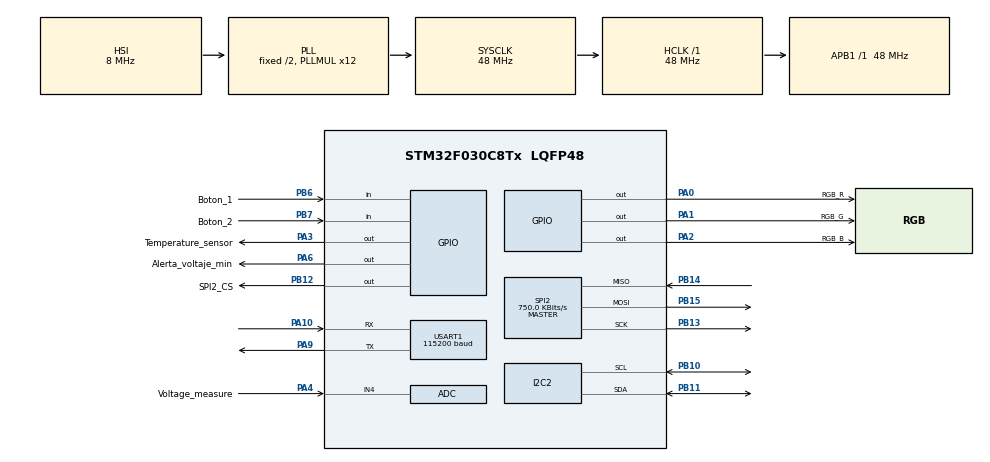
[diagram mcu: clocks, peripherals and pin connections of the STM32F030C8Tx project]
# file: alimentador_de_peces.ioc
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I2C2.Timing=0x10805D88
Mcu.Family=STM32F0
Mcu.Name=STM32F030C8Tx
Mcu.Package=LQFP48
NVIC.TIM14_IRQn=true\:0\:0\:false\:false\:true\:true\:true\:true
NVIC.USART1_IRQn=true\:0\:0\:false\:false\:true\:true\:true\:true
PA0.GPIO_Label=RGB_R
PA0.Signal=GPIO_Output
PA1.GPIO_Label=RGB_G
PA1.Signal=GPIO_Output
PA10.Mode=Asynchronous
PA10.Signal=USART1_RX
PA13.Mode=Serial_Wire
PA13.Signal=SYS_SWDIO
PA14.Mode=Serial_Wire
PA14.Signal=SYS_SWCLK
PA2.GPIO_Label=RGB_B
PA2.Signal=GPIO_Output
PA3.GPIO_Label=Temperature_sensor
PA3.Signal=GPIO_Output
PA4.GPIO_Label=Voltage_measure
PA4.Signal=SharedAnalog_PA4
PA6.GPIO_Label=Alerta_voltaje_min
PA6.Signal=GPIO_Output
PA9.Mode=Asynchronous
PA9.Signal=USART1_TX
PB10.Mode=I2C
PB10.Signal=I2C2_SCL
PB11.Mode=I2C
PB11.Signal=I2C2_SDA
PB12.GPIO_Label=SPI2_CS
PB12.Signal=GPIO_Output
PB13.Mode=Full_Duplex_Master
PB13.Signal=SPI2_SCK
PB14.Mode=Full_Duplex_Master
PB14.Signal=SPI2_MISO
PB15.Mode=Full_Duplex_Master
PB15.Signal=SPI2_MOSI
PB5.GPIO_Label=Motor_control
PB5.Signal=S_TIM3_CH2
PB6.GPIO_Label=Boton_1
PB6.Signal=GPIO_Input
PB7.GPIO_Label=Boton_2
PB7.Signal=GPIO_Input
PC14-OSC32_IN.Mode=LSE-External-Oscillator
PC14-OSC32_IN.Signal=RCC_OSC32_IN
PC15-OSC32_OUT.Mode=LSE-External-Oscillator
PC15-OSC32_OUT.Signal=RCC_OSC32_OUT
PF0-OSC_IN.Mode=HSE-External-Oscillator
PF0-OSC_IN.Signal=RCC_OSC_IN
PF1-OSC_OUT.Mode=HSE-External-Oscillator
PF1-OSC_OUT.Signal=RCC_OSC_OUT
ProjectManager.HeapSize=0x200
ProjectManager.StackSize=0x400
ProjectManager.TargetToolchain=STM32CubeIDE
RCC.AHBFreq_Value=48000000
RCC.APB1Freq_Value=48000000
RCC.APB1TimFreq_Value=48000000
RCC.HCLKFreq_Value=48000000
RCC.PLLMUL=RCC_PLL_MUL12
RCC.SYSCLKFreq_VALUE=48000000
RCC.SYSCLKSource=RCC_SYSCLKSOURCE_PLLCLK
SH.S_TIM3_CH2.0=TIM3_CH2
SH.SharedAnalog_PA4.0=GPIO_Analog
SH.SharedAnalog_PA4.1=ADC_IN4,IN4
SPI2.BaudRatePrescaler=SPI_BAUDRATEPRESCALER_64
SPI2.CalculateBaudRate=750.0 KBits/s
SPI2.DataSize=SPI_DATASIZE_8BIT
SPI2.Direction=SPI_DIRECTION_2LINES
SPI2.Mode=SPI_MODE_MASTER
SPI2.VirtualType=VM_MASTER
TIM1.Period=0xffff-1
TIM1.Prescaler=47
TIM14.Period=2499
TIM14.Prescaler=47999
USART1.BaudRate=115200
USART1.VirtualMode-Asynchronous=VM_ASYNC
VP_TIM14_VS_ClockSourceINT.Mode=Enable_Timer
VP_TIM1_VS_ClockSourceINT.Mode=Internal
board=custom

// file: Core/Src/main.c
/* USER CODE BEGIN Header */
/**
  ******************************************************************************
  * @file           : main.c
  * @brief          : Main program body
  ******************************************************************************
  * @attention
  *
  * Copyright (c) 2025 STMicroelectronics.
  * All rights reserved.
  *
  * This software is licensed under terms that can be found in the LICENSE file
  * in the root directory of this software component.
  * If no LICENSE file comes with this software, it is provided AS-IS.
  *
  ******************************************************************************
  */
/* USER CODE END Header */
#include "main.h"

/* USER CODE BEGIN Includes */
#include "Flash.h"
#include "string.h"
#include "stdio.h"
#include "stdlib.h"
#include "ds1307.h"
#include "ds18b20.h"
#include "stdbool.h"
#include "stdio.h"
#include "stdarg.h"

//#include "command_handler.h"

/* USER CODE END Includes */

ADC_HandleTypeDef hadc;

I2C_HandleTypeDef hi2c2;

SPI_HandleTypeDef hspi2;

TIM_HandleTypeDef htim1;
TIM_HandleTypeDef htim14;

UART_HandleTypeDef huart1;

/* USER CODE BEGIN PV */

#define BUFFER_SIZE 50

char buffer[16];
char transmit_text[ 64 ];
extern uint8_t read_flash_Byte[ 255 ];
volatile uint8_t address_to_write[3] ;
uint8_t things_to_write[255];
uint8_t size_to_send;

char uart_buffer[BUFFER_SIZE];  // Buffer para recepción UART
uint8_t uart_index = 0;         // Índice del buffer
uint8_t received_char;   // Variable temporal para recibir caracteres

char read_buffer[4];

int min_red = 0, max_red = 100;
int min_green = 0, max_green = 100;
int min_blue = 0, max_blue = 100;
int time_RTC = 0;
float temperature = 0;
float temperatura_promedio;
char value_to_write[4];

uint16_t counter_2_5min;
uint8_t counter_1min;
uint16_t counter10s;
uint16_t counter2_5s;
uint8_t counteraux;

int sec = 0, min = 0, hour = 0, dow = 0, dom = 0, month = 0, year = 0;

typedef struct {
    int min_red;
    int max_red;
    int min_green;
    int max_green;
    int min_blue;
    int max_blue;
} FlashParams;

FlashParams config; // Variable global para almacenar los valores

/* USER CODE BEGIN PV */

/* USER CODE END PV */

void SystemClock_Config(void);
static void MX_GPIO_Init(void);
static void MX_ADC_Init(void);
static void MX_I2C2_Init(void);
static void MX_SPI2_Init(void);
static void MX_USART1_UART_Init(void);
static void MX_TIM1_Init(void);
static void MX_TIM14_Init(void);

/* USER CODE BEGIN 0 */
void process_command(char *command);

void HAL_TIM_PeriodElapsedCallback(TIM_HandleTypeDef *htim) {
    // Verifica qué Timer generó la interrupción
    if (htim->Instance == TIM14) {  // TIMx es el número del Timer que estás usando
    	//Temperature_To_Uart();
    	counter2_5s++;
    	counteraux++;

    if ( counter2_5s % 4 == 0 ){
    	counter10s++;

    	}
    if (counter2_5s % 60 == 0) {
		counter_2_5min++;
	}
    if (counter2_5s % 24 ==0){
    	counter_1min++;

    }
   }
}

void HAL_UART_RxCpltCallback(UART_HandleTypeDef *huart) {
    if (huart->Instance == USART1) {
    	if (received_char == '\n') {
			uart_buffer[uart_index] = '\0';
			process_command(uart_buffer);
			memset(uart_buffer, 0, BUFFER_SIZE); // Limpiar buffer
			uart_index = 0;
        } else if (received_char != '\r') { // Ignorar '\r'
            if (uart_index < BUFFER_SIZE - 1) {
                uart_buffer[uart_index++] = received_char;
            }
        }
        HAL_UART_Receive_IT(&huart1, &received_char, 1); // Reactivar recepción
    }
}

void process_command(char *command) {
    char param[15];
    int value;
    char debug_msg[50];
    char time_str[15];
    int sec, min, hour, dow, dom, month, year;

    // Limpiar el comando (eliminar \r, \n y espacios)
    char *clean_cmd = strtok(command, "\r\n ");
    if (clean_cmd == NULL) {
        HAL_UART_Transmit(&huart1, (uint8_t *)"ERROR: Comando vacio\n", strlen("ERROR: Comando vacio\r\n"), 100);
        return;
    }

    if (sscanf(clean_cmd, "%9[^$]$%d", param, &value) == 2) {
        // Confirmar recepción del comando
        snprintf(debug_msg, sizeof(debug_msg), "CMD: %s=%d\r\n", param, value);
        HAL_UART_Transmit(&huart1, (uint8_t *)debug_msg, strlen(debug_msg), 100);

        if (strcmp(param, "MIN_RED") == 0) {
            min_red = value;
            HAL_UART_Transmit(&huart1, (uint8_t *)"OK_MIN_RED\r\n", strlen("OK_MIN_RED\r\n"), 100);
            snprintf(debug_msg, sizeof(debug_msg), "SET MIN RED: %d\r\n", min_red);
            HAL_UART_Transmit(&huart1, (uint8_t *)debug_msg, strlen(debug_msg), 100); // Usar strlen

            config.min_red = value; // Actualizar estructura
            Flash_write_page(0x00, 0x00, 0x00, (uint8_t*)&config, sizeof(config)); // Guardar en Fla

        }else if (strcmp(param, "MAX_RED") == 0) {
            max_red = value;
            HAL_UART_Transmit(&huart1, (uint8_t *)"OK_MAX_RED\r\n", strlen("OK_MAX_RED\r\n"), 100);
            snprintf(debug_msg, sizeof(debug_msg), "SET MAX RED: %d\r\n", max_red);
            HAL_UART_Transmit(&huart1, (uint8_t *)debug_msg, strlen(debug_msg), 100); // Usar strlen

            config.max_red = value;
            Flash_write_page(0x00, 0x00, 0x00, (uint8_t*)&config, sizeof(config));

        }else if (strcmp(param, "MIN_GREEN") == 0) {
            min_green = value;
            HAL_UART_Transmit(&huart1, (uint8_t *)"OK_MAX_GREEN\r\n", strlen("OK_MAX_GREEN\r\n"), 100);
            snprintf(debug_msg, sizeof(debug_msg), "SET MIN GREEN: %d\r\n", min_green);
            HAL_UART_Transmit(&huart1, (uint8_t *)debug_msg, strlen(debug_msg), 100); // Usar strlen

            config.min_green = value;
            Flash_write_page(0x00, 0x00, 0x00, (uint8_t*)&config, sizeof(config));

        }else if (strcmp(param, "MAX_GREEN") == 0) {
            max_green = value;
            HAL_UART_Transmit(&huart1, (uint8_t *)"OK_MAX_GREEN\r\n", strlen("OK_MAX_GREEN\r\n"), 100);
            snprintf(debug_msg, sizeof(debug_msg), "SET MAX GREEN: %d\r\n", max_green);
            HAL_UART_Transmit(&huart1, (uint8_t *)debug_msg, strlen(debug_msg), 100); // Usar strlen

            config.max_green = value;
            Flash_write_page(0x00, 0x00, 0x00, (uint8_t*)&config, sizeof(config));

        }else if (strcmp(param, "MIN_BLUE") == 0) {
            min_blue = value;
            HAL_UART_Transmit(&huart1, (uint8_t *)"OK_MAX_BLUE\r\n", strlen("OK_MAX_BLUE\r\n"), 100);
            snprintf(debug_msg, sizeof(debug_msg), "SET MIN BLUE: %d\r\n", min_blue);
            HAL_UART_Transmit(&huart1, (uint8_t *)debug_msg, strlen(debug_msg), 100); // Usar strlen

            config.min_blue = value;
            Flash_write_page(0x00, 0x00, 0x00, (uint8_t*)&config, sizeof(config));

        }else if (strcmp(param, "MAX_BLUE") == 0) {
            max_blue = value;
            HAL_UART_Transmit(&huart1, (uint8_t *)"OK_MAX_BLUE\r\n", strlen("OK_MAX_BLUE\r\n"), 100);
            snprintf(debug_msg, sizeof(debug_msg), "SET MAX BLUE: %d\r\n", max_blue);
            HAL_UART_Transmit(&huart1, (uint8_t *)debug_msg, strlen(debug_msg), 100); // Usar strlen

            config.max_blue = value;
            Flash_write_page(0x00, 0x00, 0x00, (uint8_t*)&config, sizeof(config));

        }
    }if (sscanf(command, "%9[^$]$%14s", param, time_str) == 2) {
        if (strcmp(param, "SET_TIME") == 0) {
            // Extraer cada campo de 2 dígitos
            if (sscanf(time_str, "%2d%2d%2d%2d%2d%2d%2d",
                &sec, &min, &hour, &dow, &dom, &month, &year) == 7) {

                // Validar rangos (ejemplo básico)
                if (sec < 0 || sec > 59 || min < 0 || min > 59 ||
                    hour < 0 || hour > 23 || dow < 1 || dow > 7 ||
                    dom < 1 || dom > 31 || month < 1 || month > 12) {
                    HAL_UART_Transmit(&huart1, (uint8_t *)"ERROR: Valores fuera de rango\r\n", 30, 100);
                    return;
                }

                // Configurar el RTC
                Set_Time(sec, min, hour, dow, dom, month, year);
                HAL_UART_Transmit(&huart1, (uint8_t *)"Hora configurada\r\n", 18, 100);
            } else {
                HAL_UART_Transmit(&huart1, (uint8_t *)"ERROR: Formato inválido\r\n", 25, 100);
            }
        }
    }else {
        HAL_UART_Transmit(&huart1, (uint8_t *)"ERROR: Formato invalido\n", strlen("ERROR: Formato invalido\n"), 100);
    }
}

void check_temperature(float temperature) {
    // Apagar todos los LEDs primero
    HAL_GPIO_WritePin(RGB_R_GPIO_Port, RGB_R_Pin, GPIO_PIN_RESET);
    HAL_GPIO_WritePin(RGB_G_GPIO_Port, RGB_G_Pin, GPIO_PIN_RESET);
    HAL_GPIO_WritePin(RGB_B_GPIO_Port, RGB_B_Pin, GPIO_PIN_RESET);

    // Encender LEDs según los rangos configurados
    if (temperature >= min_red && temperature <= max_red) {
        HAL_GPIO_WritePin(RGB_R_GPIO_Port, RGB_R_Pin, GPIO_PIN_SET); // Encender rojo
    }
    if (temperature >= min_green && temperature <= max_green) {
        HAL_GPIO_WritePin(RGB_G_GPIO_Port, RGB_G_Pin, GPIO_PIN_SET); // Encender verde
    }
    if (temperature >= min_blue && temperature <= max_blue) {
        HAL_GPIO_WritePin(RGB_B_GPIO_Port, RGB_B_Pin, GPIO_PIN_SET); // Encender azul
    }
}

void Print_Temperature_To_Uart(void){
	temperature = DS18B20_ReadTemperature();
	check_temperature(temperature);
	size_to_send = sprintf( transmit_text, "result temperature %.2f\r\n", temperature);
	transmit_text[size_to_send] = '\0';
	HAL_UART_Transmit(&huart1, (uint8_t *)transmit_text, size_to_send, 1000);
}

/* USER CODE END 0 */

int main(void)
{

  /* MCU Configuration--------------------------------------------------------*/

  /* Reset of all peripherals, Initializes the Flash interface and the Systick. */
  HAL_Init();

  /* Configure the system clock */
  SystemClock_Config();

  /* Initialize all configured peripherals */
  MX_GPIO_Init();
  MX_ADC_Init();
  MX_I2C2_Init();
  MX_SPI2_Init();
  MX_USART1_UART_Init();
  MX_TIM1_Init();
  MX_TIM14_Init();
  /* USER CODE BEGIN 2 */
  HAL_TIM_Base_Start(&htim1);
  HAL_TIM_Base_Start_IT(&htim14);

  /* USER CODE END 2 */

  /* Infinite loop */
  /* USER CODE BEGIN WHILE */
  Flash_read_identification_id();

  /*Esta funcion configura el reloj, solo es necesario correrla una sola vez
  (sec, min, hour, dow, dom, month, year)*/
  //Set_Time(00, 00, 01, 4, 6, 3, 25);

   HAL_UART_Receive_IT(&huart1, &received_char, 1); // Iniciar recepción UART

   Flash_page_erase(0x00, 0x00, 0x00);
   // Leer configuración desde Flash
	 Flash_read_page(0x00, 0x00, 0x00, sizeof(config)); // Dirección 0x000000
	 memcpy(&config, read_flash_Byte, sizeof(config));

	 if(config.min_red == 0xFFFFFFFF){ // Asume que 0xFFFFFFFF es el valor por defecto
	     config.min_red = 30; // Valor por defecto
	     config.max_red = 40;
	     config.min_green = 25;
	     config.max_green = 30;
	     config.min_blue = 20;
	     config.max_blue = 25;
	     Flash_write_page(0x00, 0x00, 0x00, (uint8_t*)&config, sizeof(config));
	 }

	 // Asignar valores a las variables globales
	 min_red = config.min_red;
	 max_red = config.max_red;
	 min_green = config.min_green;
	 max_green = config.max_green;
	 min_blue = config.min_blue;
	 max_blue = config.max_blue;

	 temperatura_promedio =0;
	 Print_Temperature_To_Uart();

  while (1)
  {
    /* USER CODE END WHILE */

    /* USER CODE BEGIN 3 */

	Get_Time();
	sprintf(buffer, "%02d:%02d:%02d\r\n", time.hour, time.minutes, time.seconds);
	HAL_UART_Transmit(&huart1,(uint8_t *)buffer, strlen(buffer), 100);
	HAL_Delay(1000);

	if (counter10s >=1) {
		Print_Temperature_To_Uart();
		counter10s = 0;
		temperatura_promedio = temperatura_promedio + temperature;

	 }
	if (counter_1min >= 1) {

		  temperatura_promedio = temperatura_promedio/6.0;
		  size_to_send = sprintf( transmit_text, "temperatura promedio guardada en flash: %.1f\r\n", temperatura_promedio);
		  HAL_UART_Transmit(&huart1, (uint8_t *)transmit_text, size_to_send, 1000);
		  sprintf(value_to_write, "%.1f", temperatura_promedio);
		  Flash_page_erase(0x00, 0x03, 0x00);
		  Flash_write_page(0x00,0x03,0x00,(uint8_t *)value_to_write,strlen(value_to_write));

		  counter_1min = 0;
		  temperatura_promedio = 0;
	}

 }
  /* USER CODE END 3 */
}

void SystemClock_Config(void)
{
  RCC_OscInitTypeDef RCC_OscInitStruct = {0};
  RCC_ClkInitTypeDef RCC_ClkInitStruct = {0};
  RCC_PeriphCLKInitTypeDef PeriphClkInit = {0};

  /** Initializes the RCC Oscillators according to the specified parameters
  * in the RCC_OscInitTypeDef structure.
  */
  RCC_OscInitStruct.OscillatorType = RCC_OSCILLATORTYPE_HSI|RCC_OSCILLATORTYPE_HSI14;
  RCC_OscInitStruct.HSIState = RCC_HSI_ON;
  RCC_OscInitStruct.HSI14State = RCC_HSI14_ON;
  RCC_OscInitStruct.HSICalibrationValue = RCC_HSICALIBRATION_DEFAULT;
  RCC_OscInitStruct.HSI14CalibrationValue = 16;
  RCC_OscInitStruct.PLL.PLLState = RCC_PLL_ON;
  RCC_OscInitStruct.PLL.PLLSource = RCC_PLLSOURCE_HSI;
  RCC_OscInitStruct.PLL.PLLMUL = RCC_PLL_MUL12;
  RCC_OscInitStruct.PLL.PREDIV = RCC_PREDIV_DIV1;
  if (HAL_RCC_OscConfig(&RCC_OscInitStruct) != HAL_OK)
  {
    Error_Handler();
  }

  /** Initializes the CPU, AHB and APB buses clocks
  */
  RCC_ClkInitStruct.ClockType = RCC_CLOCKTYPE_HCLK|RCC_CLOCKTYPE_SYSCLK
                              |RCC_CLOCKTYPE_PCLK1;
  RCC_ClkInitStruct.SYSCLKSource = RCC_SYSCLKSOURCE_PLLCLK;
  RCC_ClkInitStruct.AHBCLKDivider = RCC_SYSCLK_DIV1;
  RCC_ClkInitStruct.APB1CLKDivider = RCC_HCLK_DIV1;

  if (HAL_RCC_ClockConfig(&RCC_ClkInitStruct, FLASH_LATENCY_1) != HAL_OK)
  {
    Error_Handler();
  }
  PeriphClkInit.PeriphClockSelection = RCC_PERIPHCLK_USART1;
  PeriphClkInit.Usart1ClockSelection = RCC_USART1CLKSOURCE_PCLK1;
  if (HAL_RCCEx_PeriphCLKConfig(&PeriphClkInit) != HAL_OK)
  {
    Error_Handler();
  }
}

static void MX_ADC_Init(void)
{

  ADC_ChannelConfTypeDef sConfig = {0};

  /** Configure the global features of the ADC (Clock, Resolution, Data Alignment and number of conversion)
  */
  hadc.Instance = ADC1;
  hadc.Init.ClockPrescaler = ADC_CLOCK_ASYNC_DIV1;
  hadc.Init.Resolution = ADC_RESOLUTION_12B;
  hadc.Init.DataAlign = ADC_DATAALIGN_RIGHT;
  hadc.Init.ScanConvMode = ADC_SCAN_DIRECTION_FORWARD;
  hadc.Init.EOCSelection = ADC_EOC_SINGLE_CONV;
  hadc.Init.LowPowerAutoWait = DISABLE;
  hadc.Init.LowPowerAutoPowerOff = DISABLE;
  hadc.Init.ContinuousConvMode = DISABLE;
  hadc.Init.DiscontinuousConvMode = DISABLE;
  hadc.Init.ExternalTrigConv = ADC_SOFTWARE_START;
  hadc.Init.ExternalTrigConvEdge = ADC_EXTERNALTRIGCONVEDGE_NONE;
  hadc.Init.DMAContinuousRequests = DISABLE;
  hadc.Init.Overrun = ADC_OVR_DATA_PRESERVED;
  if (HAL_ADC_Init(&hadc) != HAL_OK)
  {
    Error_Handler();
  }

  /** Configure for the selected ADC regular channel to be converted.
  */
  sConfig.Channel = ADC_CHANNEL_4;
  sConfig.Rank = ADC_RANK_CHANNEL_NUMBER;
  sConfig.SamplingTime = ADC_SAMPLETIME_1CYCLE_5;
  if (HAL_ADC_ConfigChannel(&hadc, &sConfig) != HAL_OK)
  {
    Error_Handler();
  }

}

static void MX_I2C2_Init(void)
{

  hi2c2.Instance = I2C2;
  hi2c2.Init.Timing = 0x10805D88;
  hi2c2.Init.OwnAddress1 = 0;
  hi2c2.Init.AddressingMode = I2C_ADDRESSINGMODE_7BIT;
  hi2c2.Init.DualAddressMode = I2C_DUALADDRESS_DISABLE;
  hi2c2.Init.OwnAddress2 = 0;
  hi2c2.Init.OwnAddress2Masks = I2C_OA2_NOMASK;
  hi2c2.Init.GeneralCallMode = I2C_GENERALCALL_DISABLE;
  hi2c2.Init.NoStretchMode = I2C_NOSTRETCH_DISABLE;
  if (HAL_I2C_Init(&hi2c2) != HAL_OK)
  {
    Error_Handler();
  }

  /** Configure Analogue filter
  */
  if (HAL_I2CEx_ConfigAnalogFilter(&hi2c2, I2C_ANALOGFILTER_ENABLE) != HAL_OK)
  {
    Error_Handler();
  }

  /** Configure Digital filter
  */
  if (HAL_I2CEx_ConfigDigitalFilter(&hi2c2, 0) != HAL_OK)
  {
    Error_Handler();
  }

}

static void MX_SPI2_Init(void)
{

  /* SPI2 parameter configuration*/
  hspi2.Instance = SPI2;
  hspi2.Init.Mode = SPI_MODE_MASTER;
  hspi2.Init.Direction = SPI_DIRECTION_2LINES;
  hspi2.Init.DataSize = SPI_DATASIZE_8BIT;
  hspi2.Init.CLKPolarity = SPI_POLARITY_LOW;
  hspi2.Init.CLKPhase = SPI_PHASE_1EDGE;
  hspi2.Init.NSS = SPI_NSS_SOFT;
  hspi2.Init.BaudRatePrescaler = SPI_BAUDRATEPRESCALER_64;
  hspi2.Init.FirstBit = SPI_FIRSTBIT_MSB;
  hspi2.Init.TIMode = SPI_TIMODE_DISABLE;
  hspi2.Init.CRCCalculation = SPI_CRCCALCULATION_DISABLE;
  hspi2.Init.CRCPolynomial = 7;
  hspi2.Init.CRCLength = SPI_CRC_LENGTH_DATASIZE;
  hspi2.Init.NSSPMode = SPI_NSS_PULSE_ENABLE;
  if (HAL_SPI_Init(&hspi2) != HAL_OK)
  {
    Error_Handler();
  }

}

static void MX_TIM1_Init(void)
{

  TIM_ClockConfigTypeDef sClockSourceConfig = {0};
  TIM_MasterConfigTypeDef sMasterConfig = {0};

  htim1.Instance = TIM1;
  htim1.Init.Prescaler = 47;
  htim1.Init.CounterMode = TIM_COUNTERMODE_UP;
  htim1.Init.Period = 0xffff-1;
  htim1.Init.ClockDivision = TIM_CLOCKDIVISION_DIV1;
  htim1.Init.RepetitionCounter = 0;
  htim1.Init.AutoReloadPreload = TIM_AUTORELOAD_PRELOAD_DISABLE;
  if (HAL_TIM_Base_Init(&htim1) != HAL_OK)
  {
    Error_Handler();
  }
  sClockSourceConfig.ClockSource = TIM_CLOCKSOURCE_INTERNAL;
  if (HAL_TIM_ConfigClockSource(&htim1, &sClockSourceConfig) != HAL_OK)
  {
    Error_Handler();
  }
  sMasterConfig.MasterOutputTrigger = TIM_TRGO_RESET;
  sMasterConfig.MasterSlaveMode = TIM_MASTERSLAVEMODE_DISABLE;
  if (HAL_TIMEx_MasterConfigSynchronization(&htim1, &sMasterConfig) != HAL_OK)
  {
    Error_Handler();
  }

}

static void MX_TIM14_Init(void)
{

  htim14.Instance = TIM14;
  htim14.Init.Prescaler = 47999;
  htim14.Init.CounterMode = TIM_COUNTERMODE_UP;
  htim14.Init.Period = 2499;
  htim14.Init.ClockDivision = TIM_CLOCKDIVISION_DIV1;
  htim14.Init.AutoReloadPreload = TIM_AUTORELOAD_PRELOAD_DISABLE;
  if (HAL_TIM_Base_Init(&htim14) != HAL_OK)
  {
    Error_Handler();
  }

}

static void MX_USART1_UART_Init(void)
{

  huart1.Instance = USART1;
  huart1.Init.BaudRate = 115200;
  huart1.Init.WordLength = UART_WORDLENGTH_8B;
  huart1.Init.StopBits = UART_STOPBITS_1;
  huart1.Init.Parity = UART_PARITY_NONE;
  huart1.Init.Mode = UART_MODE_TX_RX;
  huart1.Init.HwFlowCtl = UART_HWCONTROL_NONE;
  huart1.Init.OverSampling = UART_OVERSAMPLING_16;
  huart1.Init.OneBitSampling = UART_ONE_BIT_SAMPLE_DISABLE;
  huart1.AdvancedInit.AdvFeatureInit = UART_ADVFEATURE_NO_INIT;
  if (HAL_UART_Init(&huart1) != HAL_OK)
  {
    Error_Handler();
  }

}

static void MX_GPIO_Init(void)
{
  GPIO_InitTypeDef GPIO_InitStruct = {0};

  /* GPIO Ports Clock Enable */
  __HAL_RCC_GPIOC_CLK_ENABLE();
  __HAL_RCC_GPIOF_CLK_ENABLE();
  __HAL_RCC_GPIOA_CLK_ENABLE();
  __HAL_RCC_GPIOB_CLK_ENABLE();

  /*Configure GPIO pin Output Level */
  HAL_GPIO_WritePin(GPIOA, RGB_R_Pin|RGB_G_Pin|RGB_B_Pin|Temperature_sensor_Pin
                          |Alerta_voltaje_min_Pin, GPIO_PIN_RESET);

  /*Configure GPIO pin Output Level */
  HAL_GPIO_WritePin(SPI2_CS_GPIO_Port, SPI2_CS_Pin, GPIO_PIN_RESET);

  /*Configure GPIO pins : RGB_R_Pin RGB_G_Pin RGB_B_Pin Temperature_sensor_Pin
                           Alerta_voltaje_min_Pin */
  GPIO_InitStruct.Pin = RGB_R_Pin|RGB_G_Pin|RGB_B_Pin|Temperature_sensor_Pin
                          |Alerta_voltaje_min_Pin;
  GPIO_InitStruct.Mode = GPIO_MODE_OUTPUT_PP;
  GPIO_InitStruct.Pull = GPIO_NOPULL;
  GPIO_InitStruct.Speed = GPIO_SPEED_FREQ_LOW;
  HAL_GPIO_Init(GPIOA, &GPIO_InitStruct);

  /*Configure GPIO pin : SPI2_CS_Pin */
  GPIO_InitStruct.Pin = SPI2_CS_Pin;
  GPIO_InitStruct.Mode = GPIO_MODE_OUTPUT_PP;
  GPIO_InitStruct.Pull = GPIO_NOPULL;
  GPIO_InitStruct.Speed = GPIO_SPEED_FREQ_LOW;
  HAL_GPIO_Init(SPI2_CS_GPIO_Port, &GPIO_InitStruct);

  /*Configure GPIO pin : Motor_control_Pin */
  GPIO_InitStruct.Pin = Motor_control_Pin;
  GPIO_InitStruct.Mode = GPIO_MODE_AF_PP;
  GPIO_InitStruct.Pull = GPIO_NOPULL;
  GPIO_InitStruct.Speed = GPIO_SPEED_FREQ_LOW;
  GPIO_InitStruct.Alternate = GPIO_AF1_TIM3;
  HAL_GPIO_Init(Motor_control_GPIO_Port, &GPIO_InitStruct);

  /*Configure GPIO pins : Boton_1_Pin Boton_2_Pin */
  GPIO_InitStruct.Pin = Boton_1_Pin|Boton_2_Pin;
  GPIO_InitStruct.Mode = GPIO_MODE_INPUT;
  GPIO_InitStruct.Pull = GPIO_NOPULL;
  HAL_GPIO_Init(GPIOB, &GPIO_InitStruct);

}

/* USER CODE BEGIN 4 */
// Verificar si la Flash está vacía (valores iniciales)

/* USER CODE END 4 */

void Error_Handler(void)
{
  __disable_irq();
  while (1)
  {
  }
}
